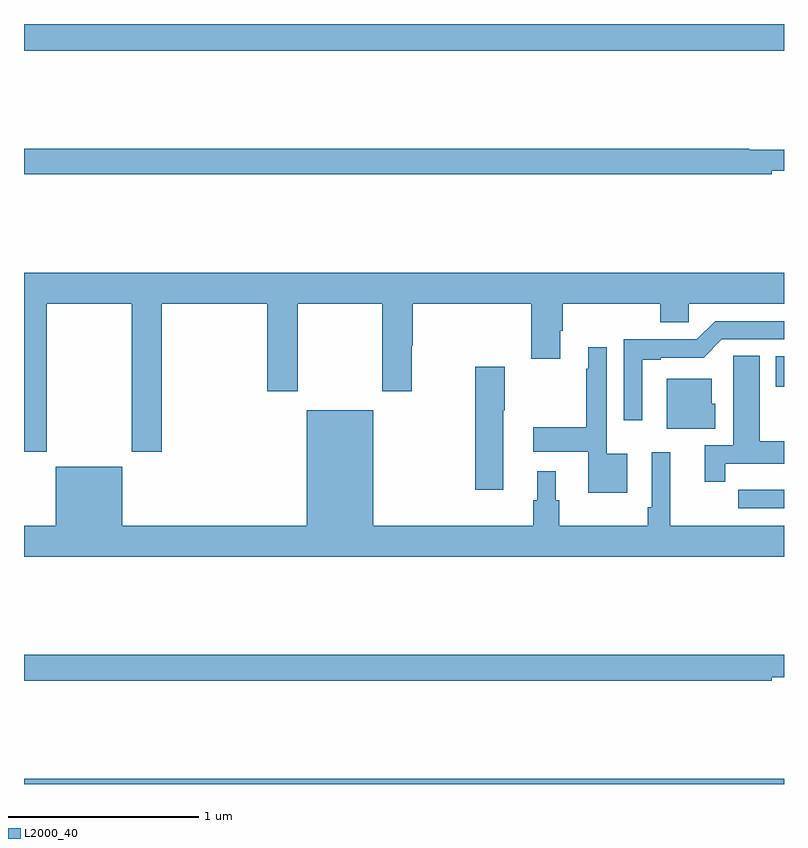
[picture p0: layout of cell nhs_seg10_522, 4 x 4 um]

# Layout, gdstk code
import gdstk
lib = gdstk.Library(unit=1e-6, precision=1e-09)
def R(c, l, rs):  # rectangles x0, y0, x1, y1
    for r in rs: c.add(gdstk.rectangle(r[:2], r[2:], *l))
def P(c, l, *ps):  # polygons
    for p in ps: c.add(gdstk.Polygon(p, *l))
L2000_40 = (2000, 40)

nhs_seg10_522 = lib.new_cell('nhs_seg10_522')
R(nhs_seg10_522, L2000_40, [(137,1252.5,141,1252.528), (140.957,1254.592,141,1254.751), (137,1256.36,141,1256.5)])
P(nhs_seg10_522, L2000_40, [(140.936,1255.727),(141,1255.727),(141,1255.837),(140.818,1255.837),(140.818,1255.844),(137,1255.844),(137,1255.708),(140.936,1255.708)],
  [(137.121,1255.028),(137.566,1255.028),(137.566,1254.249),(137.726,1254.249),(137.726,1255.028),(138.281,1255.028),(138.281,1254.567),(138.441,1254.567),(138.441,1255.028),(138.886,1255.028),(138.886,1254.567),(139.041,1254.567),(139.041,1254.806),(139.046,1254.806),(139.046,1255.028),(139.67,1255.028),(139.67,1254.738),(139.822,1254.738),(139.822,1254.886),(139.835,1254.886),(139.835,1255.028),(140.348,1255.028),(140.348,1254.93),(140.499,1254.93),(140.499,1255.028),(141,1255.028),(141,1255.192),(137,1255.192),(137,1254.249),(137.121,1254.249)],
  [(140.254,1254.732),(140.35,1254.732),(140.35,1254.744),(140.577,1254.744),(140.673,1254.84),(141,1254.84),(141,1254.936),(140.637,1254.936),(140.541,1254.84),(140.157,1254.84),(140.157,1254.414),(140.254,1254.414)],
  [(140.176,1254.238),(140.067,1254.238),(140.067,1254.799),(139.97,1254.799),(139.97,1254.686),(139.959,1254.686),(139.959,1254.378),(139.68,1254.378),(139.68,1254.248),(139.97,1254.248),(139.97,1254.032),(140.176,1254.032)],
  [(140.69,1254.186),(141,1254.186),(141,1254.303),(140.872,1254.303),(140.872,1254.755),(140.733,1254.755),(140.733,1254.644),(140.732,1254.644),(140.732,1254.282),(140.582,1254.282),(140.582,1254.09),(140.69,1254.09)],
  [(139.522,1254.466),(139.53,1254.466),(139.53,1254.697),(139.376,1254.697),(139.376,1254.048),(139.522,1254.048)],
  [(140.638,1254.501),(140.62,1254.501),(140.62,1254.634),(140.384,1254.634),(140.384,1254.371),(140.638,1254.371)],
  [(137.168,1254.169),(137.168,1253.86),(137,1253.86),(137,1253.696),(141,1253.696),(141,1253.86),(140.402,1253.86),(140.402,1254.247),(140.304,1254.247),(140.304,1253.956),(140.284,1253.956),(140.284,1253.86),(139.817,1253.86),(139.817,1253.994),(139.798,1253.994),(139.798,1254.145),(139.7,1254.145),(139.7,1253.994),(139.681,1253.994),(139.681,1253.86),(138.838,1253.86),(138.838,1254.466),(138.488,1254.466),(138.488,1253.86),(137.518,1253.86),(137.518,1254.169)],
  [(141,1254.049),(140.872,1254.049),(140.872,1254.048),(140.76,1254.048),(140.76,1253.952),(141,1253.952)],
  [(140.936,1253.063),(141,1253.063),(141,1253.18),(137,1253.18),(137,1253.044),(140.936,1253.044)])

lib.write_gds('nhs_seg10_522.gds')
